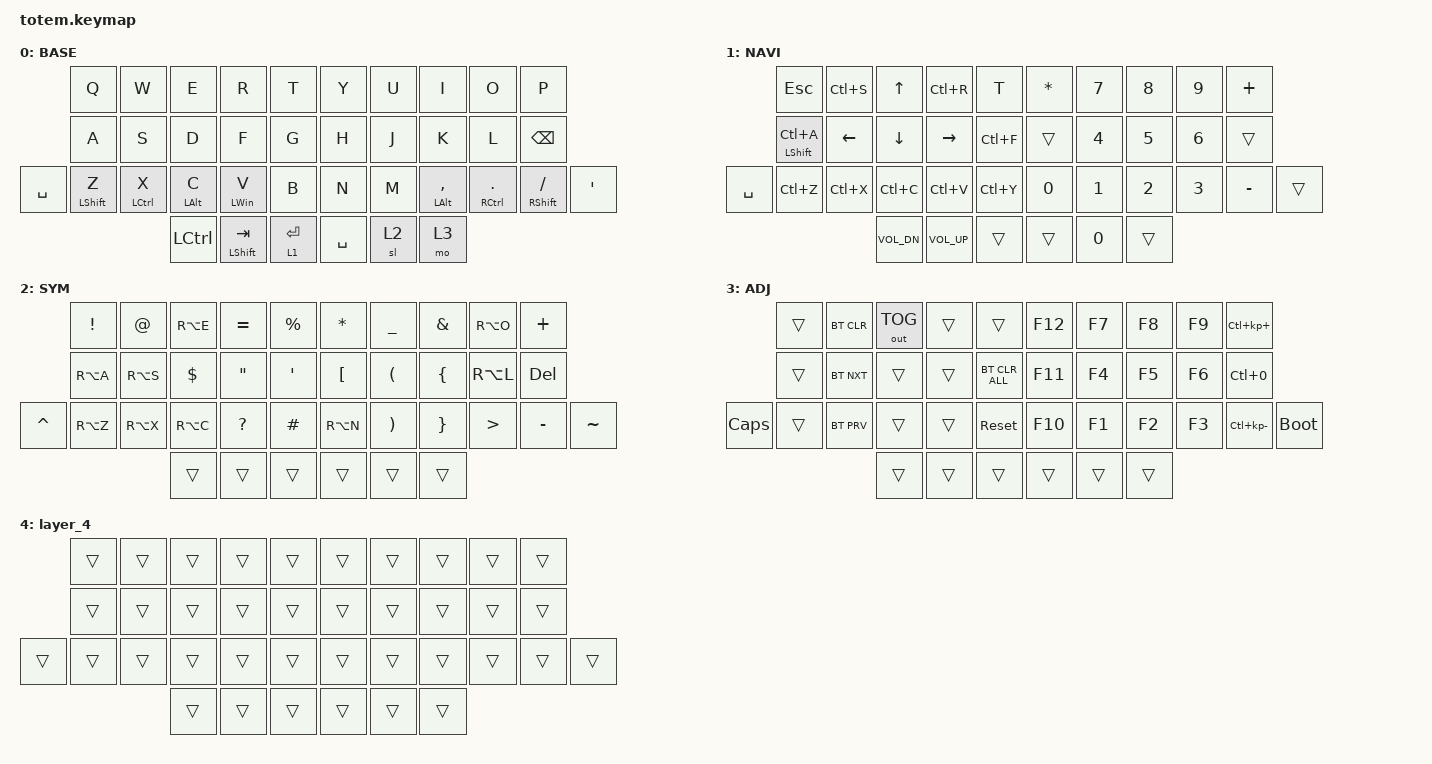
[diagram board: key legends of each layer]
//
//                                                        ▀▀▀▀▀     ▀▀▀▀▀          ▀▀█▀▀
//                                                        ▄▀▀▀▄  ▄  ▄▀▀▀▄  ▄  ▄▀▀▀▄  █  ▄▀▀▀▄
//                                                        █   █  █  █   █  █  █   █  █  █   █
//                                                         ▀▀▀   █   ▀▀▀   █   ▀▀▀   ▀   ▀▀▀
//                                                               █      ▄▄▄█▄▄▄    █   █  
//                                                               ▀      █  █  █     █▄█
//                                                             ▀▀▀▀▀    █  █  █      ▀
//                                                                      ▀  ▀  ▀
//
// ▄▄▄▄▄▄▄▄▄▄▄▄▄▄▄▄▄▄▄▄▄▄▄▄▄▄▄▄▄▄▄▄▄▄▄▄▄▄▄▄▄▄▄▄▄▄▄▄▄▄▄▄▄▄▄▄▄▄▄▄▄▄▄▄▄▄▄▄▄▄▄▄▄▄▄▄▄▄▄▄▄▄▄▄▄▄▄▄▄▄▄▄▄▄▄▄▄▄▄▄▄▄▄▄▄▄▄▄▄▄▄▄▄▄▄▄▄▄▄▄▄▄▄▄▄▄▄▄▄▄▄▄▄▄▄▄▄▄▄▄▄▄▄▄▄▄▄▄▄

#include <behaviors.dtsi>
#include <dt-bindings/zmk/bt.h>
#include <dt-bindings/zmk/keys.h>
#include <dt-bindings/zmk/outputs.h>

#define BASE 0
#define NAV  1
#define SYM  2
#define ADJ  3
#define TVP1 4
#define TVP2 5

&mt {
    quick-tap-ms = <(-1)>;
    global-quick-tap;
    flavor = "tap-preferred";
    tapping-term-ms = <250>;
    require-prior-idle-ms = <200>;
};

&sl { release-after-ms = <200>; };

/ {
    combos {
        compatible = "zmk,combos";

        srednik {
            bindings = <&kp SEMICOLON>;
            key-positions = <28 29>;
            layers = <0>;
        };

        closer_braket {
            bindings = <&kp RIGHT_BRACKET>;
            key-positions = <27 28>;
            layers = <2>;
        };

        or {
            bindings = <&kp PIPE>;
            key-positions = <7 8>;
            layers = <2>;
        };

        nawias_ostry {
            bindings = <&kp LESS_THAN>;
            key-positions = <17 18>;
            layers = <2>;
        };

        open_bracket {
            bindings = <&kp LEFT_BRACKET>;
            key-positions = <16 17>;
            layers = <2>;
        };

        dwukropek {
            bindings = <&kp COLON>;
            key-positions = <28 29>;
            layers = <2>;
        };

        quote {
            bindings = <&kp SINGLE_QUOTE>;
            key-positions = <12 13>;
            layers = <2>;
        };

        quote_weard {
            bindings = <&kp GRAVE>;
            key-positions = <23 24>;
            layers = <2>;
        };

        backsplash {
            bindings = <&kp BACKSLASH>;
            key-positions = <29 30>;
            layers = <2>;
        };
    };

    macros {
        gif: gif {
            label = "giphy";
            compatible = "zmk,behavior-macro";
            #binding-cells = <0>;
            bindings =
                <&macro_press>,
                <&kp LSHFT>,
                <&macro_tap>,
                <&kp N2>,
                <&macro_release>,
                <&kp LSHFT>,
                <&macro_tap>,
                <&kp G &kp I &kp F>;
        };
    };

    behaviors {
        cfmod: cfmod {
            compatible = "zmk,behavior-hold-tap";
            label = "Custom fast mod";
            bindings = <&kp>, <&kp>;

            #binding-cells = <2>;
            quick-tap-ms = <(-1)>;
            require-prior-idle-ms = <(-1)>;
            tapping-term-ms = <180>;
            hold-while-undecided;
        };

        cflt: cflt {
            compatible = "zmk,behavior-hold-tap";
            label = "custom fast layer tap";
            bindings = <&mo>, <&kp>;

            #binding-cells = <2>;
            quick-tap-ms = <(-1)>;
            require-prior-idle-ms = <(-1)>;
            tapping-term-ms = <180>;
        };
    };

    keymap {
        compatible = "zmk,keymap";

        // ▄▄▄▄▄▄▄▄▄▄▄▄▄▄▄▄▄▄▄▄▄▄▄▄▄▄▄▄▄▄▄▄▄▄▄▄▄▄▄▄▄▄▄▄▄▄▄▄▄▄▄▄▄▄▄▄▄▄▄▄▄▄▄▄▄▄▄▄▄▄▄▄▄▄▄▄▄▄▄▄▄▄▄▄▄▄▄▄▄▄▄▄▄▄▄▄▄▄▄▄▄▄▄▄▄▄▄▄▄▄▄▄▄▄▄▄▄▄▄▄▄▄▄▄▄▄▄▄▄▄▄▄▄▄▄▄▄▄▄▄▄▄▄▄▄▄▄▄▄

        base_layer {
            // ┏━━━━━━━━━━━━━━━━━━━━━━━━━━━━━━━━━━━━━━━┓

            label = "BASE";

            // ┗━━━━━━━━━━━━━━━━━━━━━━━━━━━━━━━━━━━━━━━┛
            //             ┏━━━━━━━━━━━┳━━━━━━━━━━━┳━━━━━━━━━━━┳━━━━━━━━━━━┳━━━━━━━━━━━┓   ┏━━━━━━━━━━━┳━━━━━━━━━━━┳━━━━━━━━━━━┳━━━━━━━━━━━┳━━━━━━━━━━━┓
            //             ┃     Q     ┃     W     ┃     F     ┃     P     ┃     G     ┃   ┃     J     ┃     L     ┃     U     ┃     Y     ┃     ;     ┃
            //             ┣━━━━━━━━━━━╋━━━━━━━━━━━╋━━━━━━━━━━━╋━━━━━━━━━━━╋━━━━━━━━━━━┫   ┣━━━━━━━━━━━╋━━━━━━━━━━━╋━━━━━━━━━━━╋━━━━━━━━━━━╋━━━━━━━━━━━┫
            //             ┃     A     ┃     R     ┃     S     ┃     T     ┃     D     ┃   ┃     H     ┃     N     ┃     E     ┃     I     ┃     O     ┃
            // ┏━━━━━━━━━━━╋━━━━━━━━━━━╋━━━━━━━━━━━╋━━━━━━━━━━━╋━━━━━━━━━━━╋━━━━━━━━━━━┫   ┣━━━━━━━━━━━╋━━━━━━━━━━━╋━━━━━━━━━━━╋━━━━━━━━━━━╋━━━━━━━━━━━╋━━━━━━━━━━━┓
            // ┃     Q     ┃     Z     ┃     X     ┃     C     ┃     V     ┃     B     ┃   ┃     K     ┃     M     ┃     ,     ┃     .     ┃     /     ┃     \     ┃
            // ┗━━━━━━━━━━━┻━━━━━━━━━━━┻━━━━━━━━━━━╋━━━━━━━━━━━╋━━━━━━━━━━━╋━━━━━━━━━━━┫   ┣━━━━━━━━━━━╋━━━━━━━━━━━╋━━━━━━━━━━━╋━━━━━━━━━━━┻━━━━━━━━━━━┻━━━━━━━━━━━┛
            //                                     ┃    DEL    ┃    TAB    ┃    SPC    ┃   ┃   ENTER   ┃           ┃   BSPC    ┃
            //                                     ┗━━━━━━━━━━━┻━━━━━━━━━━━┻━━━━━━━━━━━┛   ┗━━━━━━━━━━━┻━━━━━━━━━━━┻━━━━━━━━━━━┛

            bindings = <
           &kp Q             &kp W        &kp E           &kp R                  &kp T            &kp Y      &kp U  &kp I               &kp O          &kp P
           &kp A             &kp S        &kp D           &kp F                  &kp G            &kp H      &kp J  &kp K               &kp L          &kp BACKSPACE
&kp SPACE  &mt LEFT_SHIFT Z  &mt LCTRL X  &mt LEFT_ALT C  &mt LWIN V             &kp B            &kp N      &kp M  &mt LEFT_ALT COMMA  &mt RCTRL DOT  &mt RIGHT_SHIFT SLASH  &kp SINGLE_QUOTE
                                          &kp LCTRL       &cfmod LEFT_SHIFT TAB  &cflt 1 ENTER    &kp SPACE  &sl 2  &mo 3
            >;
        };

        // ▄▄▄▄▄▄▄▄▄▄▄▄▄▄▄▄▄▄▄▄▄▄▄▄▄▄▄▄▄▄▄▄▄▄▄▄▄▄▄▄▄▄▄▄▄▄▄▄▄▄▄▄▄▄▄▄▄▄▄▄▄▄▄▄▄▄▄▄▄▄▄▄▄▄▄▄▄▄▄▄▄▄▄▄▄▄▄▄▄▄▄▄▄▄▄▄▄▄▄▄▄▄▄▄▄▄▄▄▄▄▄▄▄▄▄▄▄▄▄▄▄▄▄▄▄▄▄▄▄▄▄▄▄▄▄▄▄▄▄▄▄▄▄▄▄▄▄▄▄

        nav_layer {
            // ┏━━━━━━━━━━━━━━━━━━━━━━━━━━━━━━━━━━━━━━━┓

            label = "NAVI";

            // ┗━━━━━━━━━━━━━━━━━━━━━━━━━━━━━━━━━━━━━━━┛
            //             ┏━━━━━━━━━━━┳━━━━━━━━━━━┳━━━━━━━━━━━┳━━━━━━━━━━━┳━━━━━━━━━━━┓   ┏━━━━━━━━━━━┳━━━━━━━━━━━┳━━━━━━━━━━━┳━━━━━━━━━━━┳━━━━━━━━━━━┓
            //             ┃           ┃           ┃     UP    ┃           ┃     {     ┃   ┃     }     ┃     7     ┃     8     ┃     9     ┃     +     ┃
            //             ┣━━━━━━━━━━━╋━━━━━━━━━━━╋━━━━━━━━━━━╋━━━━━━━━━━━╋━━━━━━━━━━━┫   ┣━━━━━━━━━━━╋━━━━━━━━━━━╋━━━━━━━━━━━╋━━━━━━━━━━━╋━━━━━━━━━━━┫
            //             ┃   SHIFT   ┃   LEFT    ┃    DOWN   ┃   RIGHT   ┃     [     ┃   ┃     ]     ┃     4     ┃     5     ┃     6     ┃     -     ┃
            // ┏━━━━━━━━━━━╋━━━━━━━━━━━╋━━━━━━━━━━━╋━━━━━━━━━━━╋━━━━━━━━━━━╋━━━━━━━━━━━┫   ┣━━━━━━━━━━━╋━━━━━━━━━━━╋━━━━━━━━━━━╋━━━━━━━━━━━╋━━━━━━━━━━━╋━━━━━━━━━━━┓
            // ┃           ┃           ┃   P UP    ┃  C LOCK   ┃  P DOWN   ┃     (     ┃   ┃     )     ┃     1     ┃     2     ┃     3     ┃     *     ┃           ┃
            // ┗━━━━━━━━━━━┻━━━━━━━━━━━┻━━━━━━━━━━━╋━━━━━━━━━━━╋━━━━━━━━━━━╋━━━━━━━━━━━┫   ┣━━━━━━━━━━━╋━━━━━━━━━━━╋━━━━━━━━━━━╋━━━━━━━━━━━┻━━━━━━━━━━━┻━━━━━━━━━━━┛
            //                                     ┃           ┃    TAB    ┃    SPC    ┃   ┃    DEL    ┃     0     ┃           ┃
            //                                     ┗━━━━━━━━━━━┻━━━━━━━━━━━┻━━━━━━━━━━━┛   ┗━━━━━━━━━━━┻━━━━━━━━━━━┻━━━━━━━━━━━┛

            bindings = <
           &kp ESC          &kp LC(S)  &kp UP        &kp LC(R)        &kp T        &kp STAR  &kp N7        &kp N8        &kp N9        &kp PLUS
           &mt LSHFT LC(A)  &kp LEFT   &kp DOWN      &kp RIGHT        &kp LC(F)    &trans    &kp NUMBER_4  &kp N5        &kp NUMBER_6  &trans
&kp SPACE  &kp LC(Z)        &kp LC(X)  &kp LC(C)     &kp LC(V)        &kp LC(Y)    &kp N0    &kp N1        &kp NUMBER_2  &kp NUMBER_3  &kp MINUS  &trans
                                       &kp C_VOL_DN  &kp C_VOLUME_UP  &trans       &trans    &kp N0        &trans
            >;
        };

        // ▄▄▄▄▄▄▄▄▄▄▄▄▄▄▄▄▄▄▄▄▄▄▄▄▄▄▄▄▄▄▄▄▄▄▄▄▄▄▄▄▄▄▄▄▄▄▄▄▄▄▄▄▄▄▄▄▄▄▄▄▄▄▄▄▄▄▄▄▄▄▄▄▄▄▄▄▄▄▄▄▄▄▄▄▄▄▄▄▄▄▄▄▄▄▄▄▄▄▄▄▄▄▄▄▄▄▄▄▄▄▄▄▄▄▄▄▄▄▄▄▄▄▄▄▄▄▄▄▄▄▄▄▄▄▄▄▄▄▄▄▄▄▄▄▄▄▄▄▄

        sim_layer {
            // ┏━━━━━━━━━━━━━━━━━━━━━━━━━━━━━━━━━━━━━━━┓

            label = "SYM";

            // ┗━━━━━━━━━━━━━━━━━━━━━━━━━━━━━━━━━━━━━━━┛
            //             ┏━━━━━━━━━━━┳━━━━━━━━━━━┳━━━━━━━━━━━┳━━━━━━━━━━━┳━━━━━━━━━━━┓   ┏━━━━━━━━━━━┳━━━━━━━━━━━┳━━━━━━━━━━━┳━━━━━━━━━━━┳━━━━━━━━━━━┓
            //             ┃     !     ┃     @     ┃     #     ┃     $     ┃     %     ┃   ┃     ˆ     ┃     &     ┃     Ü     ┃     '     ┃     "     ┃
            //             ┣━━━━━━━━━━━╋━━━━━━━━━━━╋━━━━━━━━━━━╋━━━━━━━━━━━╋━━━━━━━━━━━┫   ┣━━━━━━━━━━━╋━━━━━━━━━━━╋━━━━━━━━━━━╋━━━━━━━━━━━╋━━━━━━━━━━━┫
            //             ┃     Ä     ┃           ┃    SZ     ┃           ┃           ┃   ┃   MUTE    ┃   YEN     ┃   EURO    ┃  POUND    ┃     Ö     ┃
            // ┏━━━━━━━━━━━╋━━━━━━━━━━━╋━━━━━━━━━━━╋━━━━━━━━━━━╋━━━━━━━━━━━╋━━━━━━━━━━━┫   ┣━━━━━━━━━━━╋━━━━━━━━━━━╋━━━━━━━━━━━╋━━━━━━━━━━━╋━━━━━━━━━━━╋━━━━━━━━━━━┓
            // ┃           ┃  EMAIL1   ┃  EMAIL2   ┃           ┃           ┃           ┃   ┃   VOL-    ┃   VOL+    ┃   LAST    ┃   NEXT    ┃     \     ┃           ┃
            // ┗━━━━━━━━━━━┻━━━━━━━━━━━┻━━━━━━━━━━━╋━━━━━━━━━━━╋━━━━━━━━━━━╋━━━━━━━━━━━┫   ┣━━━━━━━━━━━╋━━━━━━━━━━━╋━━━━━━━━━━━╋━━━━━━━━━━━┻━━━━━━━━━━━┻━━━━━━━━━━━┛
            //                                     ┃           ┃    GIF    ┃    ADJ    ┃   ┃           ┃           ┃           ┃
            //                                     ┗━━━━━━━━━━━┻━━━━━━━━━━━┻━━━━━━━━━━━┛   ┗━━━━━━━━━━━┻━━━━━━━━━━━┻━━━━━━━━━━━┛

            bindings = <
           &kp EXCL   &kp AT     &kp RA(E)   &kp EQUAL          &kp PRCNT           &kp STAR          &kp UNDER              &kp AMPERSAND    &kp RA(O)         &kp PLUS
           &kp RA(A)  &kp RA(S)  &kp DOLLAR  &kp DOUBLE_QUOTES  &kp SINGLE_QUOTE    &kp LEFT_BRACKET  &kp LEFT_PARENTHESIS   &kp LEFT_BRACE   &kp RA(L)         &kp DELETE
&kp CARET  &kp RA(Z)  &kp RA(X)  &kp RA(C)   &kp QUESTION       &kp HASH            &kp RA(N)         &kp RIGHT_PARENTHESIS  &kp RIGHT_BRACE  &kp GREATER_THAN  &kp MINUS   &kp TILDE
                                 &trans      &trans             &trans              &trans            &trans                 &trans
            >;
        };

        // ▄▄▄▄▄▄▄▄▄▄▄▄▄▄▄▄▄▄▄▄▄▄▄▄▄▄▄▄▄▄▄▄▄▄▄▄▄▄▄▄▄▄▄▄▄▄▄▄▄▄▄▄▄▄▄▄▄▄▄▄▄▄▄▄▄▄▄▄▄▄▄▄▄▄▄▄▄▄▄▄▄▄▄▄▄▄▄▄▄▄▄▄▄▄▄▄▄▄▄▄▄▄▄▄▄▄▄▄▄▄▄▄▄▄▄▄▄▄▄▄▄▄▄▄▄▄▄▄▄▄▄▄▄▄▄▄▄▄▄▄▄▄▄▄▄▄▄▄▄

        adjust_layer {
            // ┏━━━━━━━━━━━━━━━━━━━━━━━━━━━━━━━━━━━━━━━┓

            label = "ADJ";

            // ┗━━━━━━━━━━━━━━━━━━━━━━━━━━━━━━━━━━━━━━━┛
            //             ┏━━━━━━━━━━━┳━━━━━━━━━━━┳━━━━━━━━━━━┳━━━━━━━━━━━┳━━━━━━━━━━━┓   ┏━━━━━━━━━━━┳━━━━━━━━━━━┳━━━━━━━━━━━┳━━━━━━━━━━━┳━━━━━━━━━━━┓
            //             ┃   RESET   ┃ BT CLEAR  ┃  OUT TOG  ┃           ┃           ┃   ┃           ┃    F7     ┃    F8     ┃    F9     ┃    F12    ┃
            //             ┣━━━━━━━━━━━╋━━━━━━━━━━━╋━━━━━━━━━━━╋━━━━━━━━━━━╋━━━━━━━━━━━┫   ┣━━━━━━━━━━━╋━━━━━━━━━━━╋━━━━━━━━━━━╋━━━━━━━━━━━╋━━━━━━━━━━━┫
            //             ┃ BOOTLOAD  ┃ BT NEXT   ┃           ┃           ┃           ┃   ┃           ┃    F4     ┃    F5     ┃    F6     ┃    F11    ┃
            // ┏━━━━━━━━━━━╋━━━━━━━━━━━╋━━━━━━━━━━━╋━━━━━━━━━━━╋━━━━━━━━━━━╋━━━━━━━━━━━┫   ┣━━━━━━━━━━━╋━━━━━━━━━━━╋━━━━━━━━━━━╋━━━━━━━━━━━╋━━━━━━━━━━━╋━━━━━━━━━━━┓
            // ┃           ┃           ┃ BT PREV   ┃           ┃           ┃           ┃   ┃           ┃    F1     ┃    F2     ┃    F3     ┃    F10    ┃           ┃
            // ┗━━━━━━━━━━━┻━━━━━━━━━━━┻━━━━━━━━━━━╋━━━━━━━━━━━╋━━━━━━━━━━━╋━━━━━━━━━━━┫   ┣━━━━━━━━━━━╋━━━━━━━━━━━╋━━━━━━━━━━━╋━━━━━━━━━━━┻━━━━━━━━━━━┻━━━━━━━━━━━┛
            //                                     ┃           ┃           ┃           ┃   ┃           ┃           ┃           ┃
            //                                     ┗━━━━━━━━━━━┻━━━━━━━━━━━┻━━━━━━━━━━━┛   ┗━━━━━━━━━━━┻━━━━━━━━━━━┻━━━━━━━━━━━┛

            bindings = <
              &trans  &bt BT_CLR  &out OUT_TOG  &trans  &trans            &kp F12  &kp F7  &kp F8  &kp F9  &kp LC(KP_PLUS)
              &trans  &bt BT_NXT  &trans        &trans  &bt BT_CLR_ALL    &kp F11  &kp F4  &kp F5  &kp F6  &kp LC(NUMBER_0)
&kp CAPSLOCK  &trans  &bt BT_PRV  &trans        &trans  &sys_reset        &kp F10  &kp F1  &kp F2  &kp F3  &kp LC(KP_MINUS)  &bootloader
                                  &trans        &trans  &trans            &trans   &trans  &trans
            >;
        };

        layer_4 {
            bindings = <
        &trans  &trans  &trans  &trans  &trans    &trans  &trans  &trans  &trans  &trans
        &trans  &trans  &trans  &trans  &trans    &trans  &trans  &trans  &trans  &trans
&trans  &trans  &trans  &trans  &trans  &trans    &trans  &trans  &trans  &trans  &trans  &trans
                        &trans  &trans  &trans    &trans  &trans  &trans
            >;
        };

        // ▄▄▄▄▄▄▄▄▄▄▄▄▄▄▄▄▄▄▄▄▄▄▄▄▄▄▄▄▄▄▄▄▄▄▄▄▄▄▄▄▄▄▄▄▄▄▄▄▄▄▄▄▄▄▄▄▄▄▄▄▄▄▄▄▄▄▄▄▄▄▄▄▄▄▄▄▄▄▄▄▄▄▄▄▄▄▄▄▄▄▄▄▄▄▄▄▄▄▄▄▄▄▄▄▄▄▄▄▄▄▄▄▄▄▄▄▄▄▄▄▄▄▄▄▄▄▄▄▄▄▄▄▄▄▄▄▄▄▄▄▄▄▄▄▄▄▄▄▄
        // ▄▄▄▄▄▄▄▄▄▄▄▄▄▄▄▄▄▄▄▄▄▄▄▄▄▄▄▄▄▄▄▄▄▄▄▄▄▄▄▄▄▄▄▄▄▄▄▄▄▄▄▄▄▄▄▄▄▄▄▄▄▄▄▄▄▄▄▄▄▄▄▄▄▄▄▄▄▄▄▄▄▄▄▄▄▄▄▄▄▄▄▄▄▄▄▄▄▄▄▄▄▄▄▄▄▄▄▄▄▄▄▄▄▄▄▄▄▄▄▄▄▄▄▄▄▄▄▄▄▄▄▄▄▄▄▄▄▄▄▄▄▄▄▄▄▄▄▄▄
    };
};
